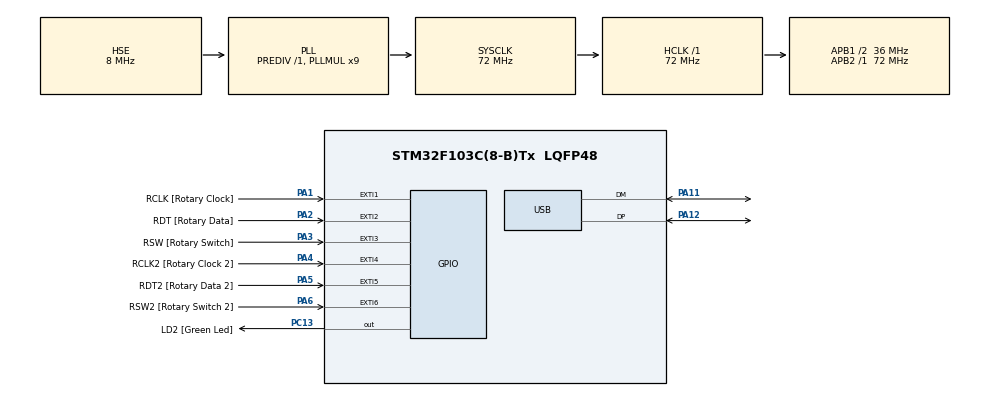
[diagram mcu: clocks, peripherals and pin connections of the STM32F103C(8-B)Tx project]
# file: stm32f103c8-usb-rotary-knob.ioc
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FREERTOS.HEAP_NUMBER=3
FREERTOS.Tasks01=defaultTask,0,128,StartDefaultTask,Default,NULL,Dynamic,NULL,NULL;blinkTask,-3,128,StartBlinkTask,Default,NULL,Dynamic,NULL,NULL;commandTask,-3,128,StartCommandHandlerTask,Default,NULL,Dynamic,NULL,NULL
Mcu.Family=STM32F1
Mcu.Name=STM32F103C(8-B)Tx
Mcu.Package=LQFP48
NVIC.EXTI1_IRQn=true\:7\:0\:true\:false\:true\:false\:true\:true
NVIC.EXTI2_IRQn=true\:7\:0\:true\:false\:true\:false\:true\:true
NVIC.EXTI3_IRQn=true\:7\:0\:true\:false\:true\:false\:true\:true
NVIC.EXTI4_IRQn=true\:7\:0\:true\:false\:true\:false\:true\:true
NVIC.EXTI9_5_IRQn=true\:7\:0\:true\:false\:true\:false\:true\:true
NVIC.PriorityGroup=NVIC_PRIORITYGROUP_4
NVIC.TIM2_IRQn=true\:6\:0\:true\:false\:true\:true\:true\:true
NVIC.TIM4_IRQn=true\:0\:0\:false\:false\:true\:false\:false\:true
NVIC.TimeBase=TIM4_IRQn
NVIC.TimeBaseIP=TIM4
NVIC.USB_LP_CAN1_RX0_IRQn=true\:5\:0\:false\:false\:true\:true\:false\:true
PA1.GPIO_Label=RCLK [Rotary Clock]
PA1.GPIO_ModeDefaultEXTI=GPIO_MODE_IT_RISING_FALLING
PA1.GPIO_PuPd=GPIO_PULLUP
PA1.Signal=GPXTI1
PA11.Mode=Device
PA11.Signal=USB_DM
PA12.Mode=Device
PA12.Signal=USB_DP
PA13.Mode=Serial_Wire
PA13.Signal=SYS_JTMS-SWDIO
PA14.Mode=Serial_Wire
PA14.Signal=SYS_JTCK-SWCLK
PA2.GPIO_Label=RDT [Rotary Data]
PA2.GPIO_ModeDefaultEXTI=GPIO_MODE_IT_RISING_FALLING
PA2.GPIO_PuPd=GPIO_PULLUP
PA2.Signal=GPXTI2
PA3.GPIO_Label=RSW [Rotary Switch]
PA3.GPIO_ModeDefaultEXTI=GPIO_MODE_IT_RISING_FALLING
PA3.GPIO_PuPd=GPIO_PULLUP
PA3.Signal=GPXTI3
PA4.GPIO_Label=RCLK2 [Rotary Clock 2]
PA4.GPIO_ModeDefaultEXTI=GPIO_MODE_IT_RISING_FALLING
PA4.GPIO_PuPd=GPIO_PULLUP
PA4.Signal=GPXTI4
PA5.GPIO_Label=RDT2 [Rotary Data 2]
PA5.GPIO_ModeDefaultEXTI=GPIO_MODE_IT_RISING_FALLING
PA5.GPIO_PuPd=GPIO_PULLUP
PA5.Signal=GPXTI5
PA6.GPIO_Label=RSW2 [Rotary Switch 2]
PA6.GPIO_ModeDefaultEXTI=GPIO_MODE_IT_RISING_FALLING
PA6.GPIO_PuPd=GPIO_PULLUP
PA6.Signal=GPXTI6
PC13-TAMPER-RTC.GPIO_Label=LD2 [Green Led]
PC13-TAMPER-RTC.GPIO_Speed=GPIO_SPEED_FREQ_HIGH
PC13-TAMPER-RTC.PinState=GPIO_PIN_SET
PC13-TAMPER-RTC.Signal=GPIO_Output
PC14-OSC32_IN.Mode=LSE-External-Oscillator
PC14-OSC32_IN.Signal=RCC_OSC32_IN
PC15-OSC32_OUT.Mode=LSE-External-Oscillator
PC15-OSC32_OUT.Signal=RCC_OSC32_OUT
PD0-OSC_IN.Mode=HSE-External-Oscillator
PD0-OSC_IN.Signal=RCC_OSC_IN
PD1-OSC_OUT.Mode=HSE-External-Oscillator
PD1-OSC_OUT.Signal=RCC_OSC_OUT
ProjectManager.HeapSize=0x200
ProjectManager.StackSize=0x400
ProjectManager.TargetToolchain=STM32CubeIDE
RCC.AHBFreq_Value=72000000
RCC.APB1CLKDivider=RCC_HCLK_DIV2
RCC.APB1Freq_Value=36000000
RCC.APB1TimFreq_Value=72000000
RCC.APB2Freq_Value=72000000
RCC.APB2TimFreq_Value=72000000
RCC.HCLKFreq_Value=72000000
RCC.PLLMUL=RCC_PLL_MUL9
RCC.SYSCLKFreq_VALUE=72000000
RCC.SYSCLKSource=RCC_SYSCLKSOURCE_PLLCLK
RCC.USBFreq_Value=48000000
RCC.USBPrescaler=RCC_USBCLKSOURCE_PLL_DIV1_5
TIM2.Period=999
TIM2.Prescaler=71
USB_DEVICE.CLASS_NAME_FS=CDC
USB_DEVICE.USBD_SELF_POWERED=0
USB_DEVICE.VirtualMode=Cdc
USB_DEVICE.VirtualModeFS=Cdc_FS
VP_FREERTOS_VS_CMSIS_V1.Mode=CMSIS_V1
VP_SYS_VS_tim4.Mode=TIM4
VP_TIM2_VS_ClockSourceINT.Mode=Internal
VP_USB_DEVICE_VS_USB_DEVICE_CDC_FS.Mode=CDC_FS
board=custom

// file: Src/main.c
/* USER CODE BEGIN Header */
/**
  ******************************************************************************
  * @file           : main.c
  * @brief          : Main program body
  ******************************************************************************
  * @attention
  *
  * <h2><center>&copy; Copyright (c) 2019 STMicroelectronics.
  * All rights reserved.</center></h2>
  *
  * This software component is licensed by ST under BSD 3-Clause license,
  * the "License"; You may not use this file except in compliance with the
  * License. You may obtain a copy of the License at:
  *                        opensource.org/licenses/BSD-3-Clause
  *
  ******************************************************************************
  */
/* USER CODE END Header */

#include "main.h"
#include "cmsis_os.h"
#include "tim.h"
#include "usb_device.h"
#include "gpio.h"

/* USER CODE BEGIN Includes */
#include <errno.h>
#include <stdio.h>
#include <string.h>
#include "usbd_hid_cdc.h"
#include "usbd_cdc_if.h"
#include "rotary.h"
/* USER CODE END Includes */

void SystemClock_Config(void);
void MX_FREERTOS_Init(void);
/* USER CODE BEGIN PFP */

void utx(uint8_t *buf, uint32_t length);
/* USER CODE END PFP */

/* USER CODE BEGIN 0 */
int _write(int file, char *ptr, int len)
{
  if (file == 0 || file == 1 || file == 2)
  {
    CDC_Transmit_FS((uint8_t *)ptr, len);
    return len;
  }
  else
  {
    errno = EBADF;
    return -1;
  }
}
/* USER CODE END 0 */

int main(void)
{

  /* MCU Configuration--------------------------------------------------------*/

  /* Reset of all peripherals, Initializes the Flash interface and the Systick. */
  HAL_Init();

  /* Configure the system clock */
  SystemClock_Config();

  /* Initialize all configured peripherals */
  MX_GPIO_Init();
  MX_TIM2_Init();

  /* Call init function for freertos objects (in freertos.c) */
  MX_FREERTOS_Init();

  /* Start scheduler */
  osKernelStart();

  /* We should never get here as control is now taken by the scheduler */

  /* Infinite loop */
  /* USER CODE BEGIN WHILE */
  //while (1)
  //{
    /* USER CODE END WHILE */

    /* USER CODE BEGIN 3 */
  //}
  Error_Handler();
  /* USER CODE END 3 */
}

void SystemClock_Config(void)
{
  RCC_OscInitTypeDef RCC_OscInitStruct = {0};
  RCC_ClkInitTypeDef RCC_ClkInitStruct = {0};
  RCC_PeriphCLKInitTypeDef PeriphClkInit = {0};

  /** Initializes the CPU, AHB and APB busses clocks
  */
  RCC_OscInitStruct.OscillatorType = RCC_OSCILLATORTYPE_HSE;
  RCC_OscInitStruct.HSEState = RCC_HSE_ON;
  RCC_OscInitStruct.HSEPredivValue = RCC_HSE_PREDIV_DIV1;
  RCC_OscInitStruct.HSIState = RCC_HSI_ON;
  RCC_OscInitStruct.PLL.PLLState = RCC_PLL_ON;
  RCC_OscInitStruct.PLL.PLLSource = RCC_PLLSOURCE_HSE;
  RCC_OscInitStruct.PLL.PLLMUL = RCC_PLL_MUL9;
  if (HAL_RCC_OscConfig(&RCC_OscInitStruct) != HAL_OK)
  {
    Error_Handler();
  }
  /** Initializes the CPU, AHB and APB busses clocks
  */
  RCC_ClkInitStruct.ClockType = RCC_CLOCKTYPE_HCLK|RCC_CLOCKTYPE_SYSCLK
                              |RCC_CLOCKTYPE_PCLK1|RCC_CLOCKTYPE_PCLK2;
  RCC_ClkInitStruct.SYSCLKSource = RCC_SYSCLKSOURCE_PLLCLK;
  RCC_ClkInitStruct.AHBCLKDivider = RCC_SYSCLK_DIV1;
  RCC_ClkInitStruct.APB1CLKDivider = RCC_HCLK_DIV2;
  RCC_ClkInitStruct.APB2CLKDivider = RCC_HCLK_DIV1;

  if (HAL_RCC_ClockConfig(&RCC_ClkInitStruct, FLASH_LATENCY_2) != HAL_OK)
  {
    Error_Handler();
  }
  PeriphClkInit.PeriphClockSelection = RCC_PERIPHCLK_USB;
  PeriphClkInit.UsbClockSelection = RCC_USBCLKSOURCE_PLL_DIV1_5;
  if (HAL_RCCEx_PeriphCLKConfig(&PeriphClkInit) != HAL_OK)
  {
    Error_Handler();
  }
}

/* USER CODE BEGIN 4 */
void HAL_GPIO_EXTI_Callback(uint16_t pin)
{
  if (pin == rotary1.SwPin || pin == rotary2.SwPin)
  {
    __HAL_TIM_ENABLE(&htim2);
  }
  else if (pin == rotary1.ClkPin || pin == rotary1.DtPin
        || pin == rotary2.ClkPin || pin == rotary2.DtPin)
  {
    Compute_Rotary(&rotary1);
    Compute_Rotary(&rotary2);
  }
}

void utx(uint8_t *buf, uint32_t length) {
  CDC_Transmit_FS((uint8_t *)buf, length);
}
/* USER CODE END 4 */

void HAL_TIM_PeriodElapsedCallback(TIM_HandleTypeDef *htim)
{
  if (htim->Instance == TIM4) {
    HAL_IncTick();
  }
  /* USER CODE BEGIN Callback 1 */
  if (htim->Instance == htim2.Instance)
  {
    Debounce_Switch(&rotary1);
    Debounce_Switch(&rotary2);
  }
  /* USER CODE END Callback 1 */
}

void Error_Handler(void)
{
}

/************************ (C) COPYRIGHT STMicroelectronics *****END OF FILE****/

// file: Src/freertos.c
/* USER CODE BEGIN Header */
/**
  ******************************************************************************
  * File Name          : freertos.c
  * Description        : Code for freertos applications
  ******************************************************************************
  * @attention
  *
  * <h2><center>&copy; Copyright (c) 2019 STMicroelectronics.
  * All rights reserved.</center></h2>
  *
  * This software component is licensed by ST under Ultimate Liberty license
  * SLA0044, the "License"; You may not use this file except in compliance with
  * the License. You may obtain a copy of the License at:
  *                             www.st.com/SLA0044
  *
  ******************************************************************************
  */
/* USER CODE END Header */

#include "FreeRTOS.h"
#include "task.h"
#include "main.h"
#include "cmsis_os.h"

/* USER CODE BEGIN Includes */
#include "tim.h"
#include "usbd_hid_cdc.h"
#include "usbd_cdc_if.h"
#include "command_handler.h"
/* USER CODE END Includes */

/* USER CODE BEGIN PTD */
extern USBD_HandleTypeDef hUsbDeviceFS;
/* USER CODE END PTD */

/* USER CODE BEGIN Variables */
osMailQDef(rotaryMailQ, 16, RotaryMail);
osMailQId rotaryMailQ;
osMailQDef(commandMailQ, 16, CommandMail);
osMailQId commandMailQ;
/* USER CODE END Variables */
osThreadId defaultTaskHandle;
osThreadId blinkTaskHandle;
osThreadId commandTaskHandle;

/* USER CODE BEGIN FunctionPrototypes */
void DisableTimer();
void Blink();
void Switch_Rising(uint32_t rotary_id);
void Switch_Falling(uint32_t rotary_id);
void Clockwise(uint32_t rotary_id);
void Counter_Clockwise(uint32_t rotary_id);
void Act(RotaryActionConfig action_config);
/* USER CODE END FunctionPrototypes */

void StartDefaultTask(void const * argument);
void StartBlinkTask(void const * argument);
void StartCommandHandlerTask(void const * argument);

extern void MX_USB_DEVICE_Init(void);
void MX_FREERTOS_Init(void); /* (MISRA C 2004 rule 8.1) */

void MX_FREERTOS_Init(void) {

  /* USER CODE BEGIN RTOS_QUEUES */
  /* add queues, ... */
  rotaryMailQ = osMailCreate(osMailQ(rotaryMailQ), NULL);
  if (rotaryMailQ == NULL)
  {
    Error_Handler();
  }
  commandMailQ = osMailCreate(osMailQ(commandMailQ), NULL);
  if (commandMailQ == NULL)
  {
    Error_Handler();
  }
  /* USER CODE END RTOS_QUEUES */

  /* Create the thread(s) */
  /* definition and creation of defaultTask */
  osThreadDef(defaultTask, StartDefaultTask, osPriorityNormal, 0, 128);
  defaultTaskHandle = osThreadCreate(osThread(defaultTask), NULL);

  /* definition and creation of blinkTask */
  osThreadDef(blinkTask, StartBlinkTask, osPriorityIdle, 0, 128);
  blinkTaskHandle = osThreadCreate(osThread(blinkTask), NULL);

  /* definition and creation of commandTask */
  osThreadDef(commandTask, StartCommandHandlerTask, osPriorityIdle, 0, 128);
  commandTaskHandle = osThreadCreate(osThread(commandTask), NULL);

}

void StartDefaultTask(void const * argument)
{
  /* init code for USB_DEVICE */
  if ((CoreDebug->DHCSR & CoreDebug_DHCSR_C_DEBUGEN_Msk)==CoreDebug_DHCSR_C_DEBUGEN_Msk) {
    GPIO_InitTypeDef GPIO_InitStruct;
    GPIO_InitStruct.Pin = GPIO_PIN_12;
    GPIO_InitStruct.Speed = GPIO_SPEED_FREQ_LOW;
    GPIO_InitStruct.Pull = GPIO_NOPULL;
    GPIO_InitStruct.Mode = GPIO_MODE_OUTPUT_PP;
  //reenumerate
    HAL_GPIO_Init(GPIOA, &GPIO_InitStruct);
    HAL_GPIO_WritePin(GPIOA, GPIO_PIN_12, GPIO_PIN_RESET);
    HAL_Delay(500);
    HAL_GPIO_WritePin(GPIOA, GPIO_PIN_12, GPIO_PIN_SET);
    HAL_Delay(500);
  }

  MX_USB_DEVICE_Init();

  /* USER CODE BEGIN StartDefaultTask */
  Init_Rotary(
    &rotary1,
    ROTARYID1,
    RCLK_GPIO_Port,
    RCLK_Pin,
    RDT_GPIO_Port,
    RDT_Pin,
    RSW_GPIO_Port,
    RSW_Pin
  );
  Init_Rotary(
    &rotary2,
    ROTARYID2,
    RCLK2_GPIO_Port,
    RCLK2_Pin,
    RDT2_GPIO_Port,
    RDT2_Pin,
    RSW2_GPIO_Port,
    RSW2_Pin
  );
  HAL_TIM_Base_Start_IT(&htim2);
  DisableTimer();

  Init_Mediakeyboard();
  Init_Command_Handler();

  RotaryMail *rptr;
  osEvent event;
  /* Infinite loop */
  for(;;)
  {
    event = osMailGet(rotaryMailQ, osWaitForever);
    if(event.status == osErrorParameter)
    {
      Error_Handler();
    }
    else if (event.status == osEventMail)
    {
      rptr = event.value.p;
      if (rptr->EventCode & ebPRESSED)
      {
        DisableTimer();
        Switch_Rising(rptr->Rotary->Id);
        Blink();
      }
      else if (rptr->EventCode & ebRELEASED)
      {
        DisableTimer();
        Switch_Falling(rptr->Rotary->Id);
        Blink();
      }
      else if (rptr->EventCode & ebCLOCKWISE)
      {
        Clockwise(rptr->Rotary->Id);
        Blink();
      }
      else if (rptr->EventCode & ebCOUNTERCLOCKWISE)
      {
        Counter_Clockwise(rptr->Rotary->Id);
        Blink();
      }
      osMailFree(rotaryMailQ, rptr);
    }
  }
  /* USER CODE END StartDefaultTask */
}

void StartBlinkTask(void const * argument)
{
  /* USER CODE BEGIN StartBlinkTask */
  /* Infinite loop */
  for(;;)
  {
    osEvent event = osSignalWait(0, osWaitForever);
    if (event.status & 0x80)
    {
      Error_Handler();
    }
    HAL_GPIO_TogglePin(LD2_GPIO_Port, LD2_Pin);
    osDelay(50);
    HAL_GPIO_TogglePin(LD2_GPIO_Port, LD2_Pin);
  }
  /* USER CODE END StartBlinkTask */
}

void StartCommandHandlerTask(void const * argument)
{
  /* USER CODE BEGIN StartCommandHandlerTask */
  /* Infinite loop */
  CommandMail *rptr;
  osEvent event;
  /* Infinite loop */
  for(;;)
  {
    event = osMailGet(commandMailQ, osWaitForever);
    if(event.status == osErrorParameter)
    {
      Error_Handler();
    }
    else if (event.status == osEventMail)
    {
      rptr = event.value.p;
      if (!rptr->EventCode)
      {
        printf("\r\n>> [Error] \"%s\" unrecognized command.\r\n", rptr->Command);
      }
      else if (rptr->EventCode & ebCONNECTED)
      {
        printf(">> Hello\r\n");
      }
      if (rptr->EventCode & ebWAITING)
      {
        utx(&rptr->LastValue, 1);
        HAL_Delay(1);
      }
      else if (rptr->EventCode & ebCOMMAND)
      {
        printf("\r\n>> [OK] \"%s\" command accepted\r\n", rptr->Command);
      }
      else if (rptr->EventCode & ebOVERFLOWN)
      {
        printf("\r\n>> [Error] \"%s\" too long.\r\n", rptr->Command);
      }
      osMailFree(commandMailQ, rptr);
    }
  }
  /* USER CODE END StartCommandHandlerTask */
}

/* USER CODE BEGIN Application */
void DisableTimer()
{
  __HAL_TIM_DISABLE(&htim2);
  htim2.Instance->EGR = TIM_EGR_UG; // reset counter and prescaler
}

void Blink()
{
  if (osSignalSet(blinkTaskHandle, 0x1) != osOK)
  {
    Error_Handler();
  }
}

void Switch_Rising(uint32_t rotary_id)
{
  Act(rotary_configs[rotary_id / 0x10].Released);
  printf("[%ld] Switch released (rising)\r\n", rotary_id / 0x10);
}

void Switch_Falling(uint32_t rotary_id)
{
  Act(rotary_configs[rotary_id / 0x10].Pressed);
  printf("[%ld] Switch pressed (falling)\r\n", rotary_id /0x10);
}

void Clockwise(uint32_t rotary_id)
{
  Act(rotary_configs[rotary_id / 0x10].Clockwise);
  printf("[%ld] Clockwise\r\n", rotary_id / 0x10);
}

void Counter_Clockwise(uint32_t rotary_id)
{
  Act(rotary_configs[rotary_id / 0x10].Counterclockwise);
  printf("[%ld] Counter-Clockwise\r\n", rotary_id / 0x10);
}

void Act(RotaryActionConfig action_config)
{
  if (action_config.Mode == KEYBOARD_MODE)
  {
    USBD_HID_SendReport(&hUsbDeviceFS, (uint8_t *)&action_config.Keyboard, sizeof(KeyboardHIDTypeDef));
    HAL_Delay(5);
    USBD_HID_SendReport(&hUsbDeviceFS, (uint8_t *)&keyboardHID, sizeof(KeyboardHIDTypeDef));
    HAL_Delay(5);
  }
  else if(action_config.Mode == MEDIA_MODE)
  {
    USBD_HID_SendReport(&hUsbDeviceFS, (uint8_t *)&action_config.Media, sizeof(MediaHIDTypeDef));
    HAL_Delay(5);
    USBD_HID_SendReport(&hUsbDeviceFS, (uint8_t *)&mediaHID, sizeof(MediaHIDTypeDef));
    HAL_Delay(5);
  }
}
/* USER CODE END Application */

/************************ (C) COPYRIGHT STMicroelectronics *****END OF FILE****/
